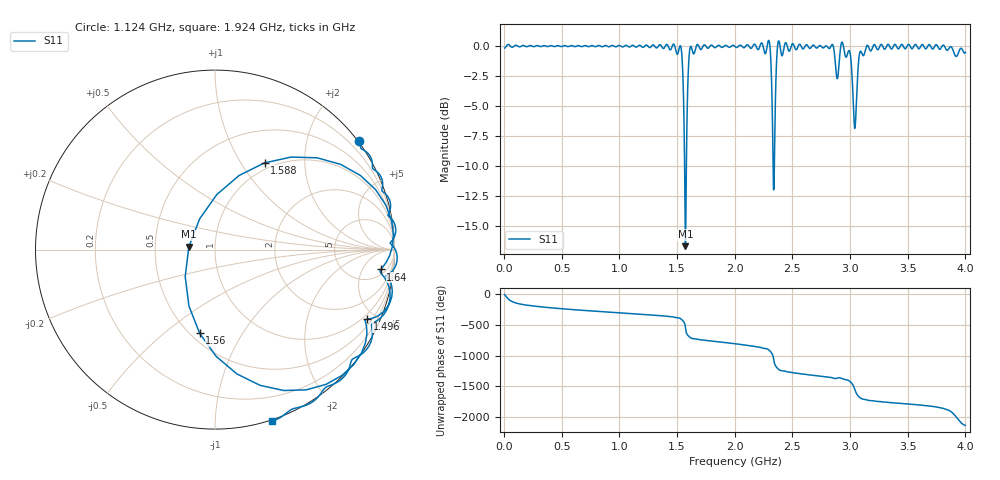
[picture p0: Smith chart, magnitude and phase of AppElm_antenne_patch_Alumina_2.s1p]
! TOUCHSTONE file generated by CST MICROWAVE STUDIO
! Date and time: Thu Jun  9 16:03:37 2022
! Project name: AppElm_antenne_patch_Alumina.cst
! Parameters = {L=30.5; W=41.8; e=0.035; h=1.6; lambda=0.190476; ls=72; w0=1.12; w1=0.373; ws=90; y0=14; y1=10}
! Header version: 2018
! Port assignment regex: !\s*Touchstone port\s*([0-9]+)\s*=\s*(CST MWS port|CST DS port)\s*([0-9]+|Zmin|Zmax)\s*\(\"(.*)\"\)(\s*mode\s*([0-9]+))?.*
! Touchstone port assignment:
! Touchstone port 1 = CST MWS port 1 ("")
# GHz S MA R 50
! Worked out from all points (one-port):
!   1000 points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, 4 MHz to 4 GHz, reference 50 ohm
!   lowest |S11| = -16.7 dB at 1.572 GHz (marker M1), VSWR 1.34, Z = 37.3 + j1.19 ohm
!   |S11| at or under -10 dB: 1.565 GHz to 1.58 GHz (15.48 MHz wide, 0.984 % of centre); 2.332731 GHz to 2.34301 GHz (10.28 MHz wide, 0.44 % of centre)
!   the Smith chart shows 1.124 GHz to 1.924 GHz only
!   S11 on the Smith chart (normalised r, x): 1.124 GHz: -0.02, +2.99; 1.496 GHz: 0.76, -4.46; 1.56 GHz: 0.56, -0.67; 1.588 GHz: 0.91, +1.28; 1.64 GHz: 7, -12; 1.924 GHz: -0.01, -1.39
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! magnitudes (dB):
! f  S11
! 4 MHz  -0.2
! 504 MHz  0.0
! 1.004 GHz  0.0
! 1.124 GHz  0.0
! 1.496 GHz  -0.6
! 1.504 GHz  -0.7
! 1.536 GHz  -0.2
! 1.56 GHz  -6.5
! 1.572 GHz  -16.7
! 1.588 GHz  -5.1
! 1.608 GHz  -0.4
! 1.64 GHz  -0.6
! 1.924 GHz  0.1
! 2.004 GHz  -0.1
! 2.292 GHz  0.5
! 2.304 GHz  0.1
! 2.336 GHz  -12.0
! 2.348 GHz  -6.8
! 2.38 GHz  0.4
! 2.504 GHz  0.2
! 2.84 GHz  0.1
! 2.888 GHz  -2.7
! 2.932 GHz  0.3
! 3.004 GHz  -0.8
! 3.04 GHz  -6.9
! 3.096 GHz  -0.5
! 3.504 GHz  0.1
! 4 GHz  -0.5
